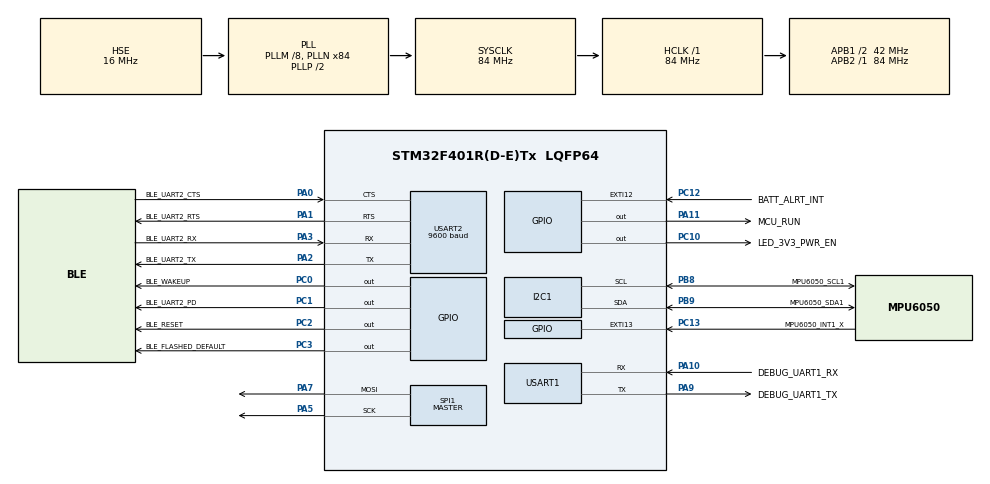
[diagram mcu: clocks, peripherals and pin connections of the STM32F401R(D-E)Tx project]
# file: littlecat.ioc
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Dma.I2C1_RX.1.Direction=DMA_PERIPH_TO_MEMORY
Dma.I2C1_RX.1.FIFOMode=DMA_FIFOMODE_DISABLE
Dma.I2C1_RX.1.Instance=DMA1_Stream0
Dma.I2C1_RX.1.MemDataAlignment=DMA_MDATAALIGN_BYTE
Dma.I2C1_RX.1.MemInc=DMA_MINC_ENABLE
Dma.I2C1_RX.1.Mode=DMA_NORMAL
Dma.I2C1_RX.1.PeriphDataAlignment=DMA_PDATAALIGN_BYTE
Dma.I2C1_RX.1.PeriphInc=DMA_PINC_DISABLE
Dma.I2C1_RX.1.Priority=DMA_PRIORITY_LOW
Dma.I2C1_TX.2.Direction=DMA_MEMORY_TO_PERIPH
Dma.I2C1_TX.2.FIFOMode=DMA_FIFOMODE_DISABLE
Dma.I2C1_TX.2.Instance=DMA1_Stream6
Dma.I2C1_TX.2.MemDataAlignment=DMA_MDATAALIGN_BYTE
Dma.I2C1_TX.2.MemInc=DMA_MINC_ENABLE
Dma.I2C1_TX.2.Mode=DMA_NORMAL
Dma.I2C1_TX.2.PeriphDataAlignment=DMA_PDATAALIGN_BYTE
Dma.I2C1_TX.2.PeriphInc=DMA_PINC_DISABLE
Dma.I2C1_TX.2.Priority=DMA_PRIORITY_LOW
Dma.Request0=SPI1_TX
Dma.Request1=I2C1_RX
Dma.Request2=I2C1_TX
Dma.SPI1_TX.0.Direction=DMA_MEMORY_TO_PERIPH
Dma.SPI1_TX.0.FIFOMode=DMA_FIFOMODE_ENABLE
Dma.SPI1_TX.0.FIFOThreshold=DMA_FIFO_THRESHOLD_FULL
Dma.SPI1_TX.0.Instance=DMA2_Stream3
Dma.SPI1_TX.0.MemBurst=DMA_MBURST_SINGLE
Dma.SPI1_TX.0.MemDataAlignment=DMA_MDATAALIGN_BYTE
Dma.SPI1_TX.0.MemInc=DMA_MINC_ENABLE
Dma.SPI1_TX.0.Mode=DMA_NORMAL
Dma.SPI1_TX.0.PeriphBurst=DMA_PBURST_SINGLE
Dma.SPI1_TX.0.PeriphDataAlignment=DMA_PDATAALIGN_BYTE
Dma.SPI1_TX.0.PeriphInc=DMA_PINC_DISABLE
Dma.SPI1_TX.0.Priority=DMA_PRIORITY_LOW
I2C1.I2C_Mode=I2C_Fast
Mcu.Family=STM32F4
Mcu.Name=STM32F401R(D-E)Tx
Mcu.Package=LQFP64
NVIC.DMA1_Stream0_IRQn=true\:1\:0\:true\:false\:true\:false\:true
NVIC.DMA1_Stream6_IRQn=true\:1\:0\:true\:false\:true\:false\:true
NVIC.DMA2_Stream3_IRQn=true\:0\:0\:true\:false\:true\:false\:true
NVIC.EXTI15_10_IRQn=true\:1\:0\:true\:false\:true\:true\:true
NVIC.I2C1_ER_IRQn=true\:1\:0\:true\:true\:true\:6\:true\:true
NVIC.I2C1_EV_IRQn=true\:1\:0\:true\:true\:true\:5\:true\:true
NVIC.PriorityGroup=NVIC_PRIORITYGROUP_4
NVIC.TIM1_TRG_COM_TIM11_IRQn=true\:1\:0\:true\:true\:true\:4\:true\:true
NVIC.TIM1_UP_TIM10_IRQn=true\:1\:0\:true\:true\:true\:3\:true\:true
NVIC.TIM5_IRQn=true\:1\:0\:true\:false\:true\:false\:true
NVIC.TimeBase=TIM5_IRQn
NVIC.TimeBaseIP=TIM5
NVIC.USART1_IRQn=true\:5\:0\:true\:true\:true\:2\:true\:true
NVIC.USART2_IRQn=true\:5\:0\:true\:true\:true\:1\:true\:true
PA0-WKUP.GPIO_Label=BLE_UART2_CTS
PA0-WKUP.Mode=CTS_RTS
PA0-WKUP.Signal=USART2_CTS
PA1.GPIO_Label=BLE_UART2_RTS
PA1.Mode=CTS_RTS
PA1.Signal=USART2_RTS
PA10.GPIO_Label=DEBUG_UART1_RX
PA10.Mode=Asynchronous
PA10.Signal=USART1_RX
PA11.GPIO_Label=MCU_RUN
PA11.GPIO_ModeDefaultOutputPP=GPIO_MODE_OUTPUT_OD
PA11.GPIO_PuPd=GPIO_PULLUP
PA11.Signal=GPIO_Output
PA13.Mode=JTAG_5_pins
PA13.Signal=SYS_JTMS-SWDIO
PA14.Mode=JTAG_5_pins
PA14.Signal=SYS_JTCK-SWCLK
PA15.Mode=JTAG_5_pins
PA15.Signal=SYS_JTDI
PA2.GPIO_Label=BLE_UART2_TX
PA2.Mode=Asynchronous
PA2.Signal=USART2_TX
PA3.GPIO_Label=BLE_UART2_RX
PA3.Mode=Asynchronous
PA3.Signal=USART2_RX
PA5.Mode=TX_Only_Simplex_Unidirect_Master
PA5.Signal=SPI1_SCK
PA7.Mode=TX_Only_Simplex_Unidirect_Master
PA7.Signal=SPI1_MOSI
PA9.GPIO_Label=DEBUG_UART1_TX
PA9.Mode=Asynchronous
PA9.Signal=USART1_TX
PB3.Mode=JTAG_5_pins
PB3.Signal=SYS_JTDO-SWO
PB4.Mode=JTAG_5_pins
PB4.Signal=SYS_JTRST
PB8.GPIO_Label=MPU6050_SCL1
PB8.Mode=I2C
PB8.Signal=I2C1_SCL
PB9.GPIO_Label=MPU6050_SDA1
PB9.Mode=I2C
PB9.Signal=I2C1_SDA
PC0.GPIO_Label=BLE_WAKEUP
PC0.GPIO_ModeDefaultOutputPP=GPIO_MODE_OUTPUT_OD
PC0.GPIO_PuPd=GPIO_PULLUP
PC0.PinState=GPIO_PIN_SET
PC0.Signal=GPIO_Output
PC1.GPIO_Label=BLE_UART2_PD
PC1.GPIO_ModeDefaultOutputPP=GPIO_MODE_OUTPUT_OD
PC1.GPIO_PuPd=GPIO_PULLDOWN
PC1.Signal=GPIO_Output
PC10.GPIO_Label=LED_3V3_PWR_EN
PC10.GPIO_PuPd=GPIO_PULLDOWN
PC10.Signal=GPIO_Output
PC12.GPIO_Label=BATT_ALRT_INT
PC12.GPIO_ModeDefaultEXTI=GPIO_MODE_IT_FALLING
PC12.Signal=GPXTI12
PC13-ANTI_TAMP.GPIO_Label=MPU6050_INT1_X
PC13-ANTI_TAMP.GPIO_ModeDefaultEXTI=GPIO_MODE_IT_FALLING
PC13-ANTI_TAMP.GPIO_PuPd=GPIO_NOPULL
PC13-ANTI_TAMP.Signal=GPXTI13
PC14-OSC32_IN.Mode=LSE-External-Oscillator
PC14-OSC32_IN.Signal=RCC_OSC32_IN
PC15-OSC32_OUT.Mode=LSE-External-Oscillator
PC15-OSC32_OUT.Signal=RCC_OSC32_OUT
PC2.GPIO_Label=BLE_RESET
PC2.GPIO_ModeDefaultOutputPP=GPIO_MODE_OUTPUT_OD
PC2.GPIO_PuPd=GPIO_PULLUP
PC2.Signal=GPIO_Output
PC3.GPIO_Label=BLE_FLASHED_DEFAULT
PC3.GPIO_ModeDefaultOutputPP=GPIO_MODE_OUTPUT_OD
PC3.GPIO_PuPd=GPIO_PULLUP
PC3.Signal=GPIO_Output
PH0\ -\ OSC_IN.Mode=HSE-External-Oscillator
PH0\ -\ OSC_IN.Signal=RCC_OSC_IN
PH1\ -\ OSC_OUT.Mode=HSE-External-Oscillator
PH1\ -\ OSC_OUT.Signal=RCC_OSC_OUT
ProjectManager.HeapSize=0x200
ProjectManager.StackSize=0x400
ProjectManager.TargetToolchain=TrueSTUDIO
RCC.48MHZClocksFreq_Value=24000000
RCC.AHBFreq_Value=84000000
RCC.APB1CLKDivider=RCC_HCLK_DIV2
RCC.APB1Freq_Value=42000000
RCC.APB1TimFreq_Value=84000000
RCC.APB2Freq_Value=84000000
RCC.APB2TimFreq_Value=84000000
RCC.CortexFreq_Value=84000000
RCC.EnbaleCSS=true
RCC.HCLKFreq_Value=84000000
RCC.HSE_VALUE=16000000
RCC.HSI_VALUE=16000000
RCC.PLLM=8
RCC.PLLN=84
RCC.PLLQ=7
RCC.PLLSourceVirtual=RCC_PLLSOURCE_HSE
RCC.RCC_RTC_Clock_Source=RCC_RTCCLKSOURCE_LSE
RCC.RCC_RTC_Clock_SourceVirtual=RCC_RTCCLKSOURCE_LSE
RCC.SYSCLKFreq_VALUE=84000000
RCC.SYSCLKSource=RCC_SYSCLKSOURCE_PLLCLK
RCC.VCOOutputFreq_Value=168000000
SPI1.BaudRatePrescaler=SPI_BAUDRATEPRESCALER_32
SPI1.Direction=SPI_DIRECTION_2LINES
SPI1.Mode=SPI_MODE_MASTER
SPI1.VirtualType=VM_MASTER
TIM11.Period=999
TIM11.Prescaler=53999
USART1.VirtualMode=VM_ASYNC
USART2.BaudRate=9600
USART2.VirtualMode=VM_ASYNC
VP_SYS_VS_tim5.Mode=TIM5
VP_TIM11_VS_ClockSourceINT.Mode=Enable_Timer
VP_TIM1_VS_ClockSourceINT.Mode=Internal
board=custom

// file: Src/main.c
/* USER CODE BEGIN Header */
/**
  ******************************************************************************
  * @file           : main.c
  * @brief          : Main program body
  ******************************************************************************
  * @attention
  *
  * <h2><center>&copy; Copyright (c) 2019 STMicroelectronics.
  * All rights reserved.</center></h2>
  *
  * This software component is licensed by ST under BSD 3-Clause license,
  * the "License"; You may not use this file except in compliance with the
  * License. You may obtain a copy of the License at:
  *                        opensource.org/licenses/BSD-3-Clause
  *
  ******************************************************************************
  */
/* USER CODE END Header */

#include "main.h"
#include "dma.h"
#include "i2c.h"
#include "spi.h"
#include "tim.h"
#include "usart.h"
#include "gpio.h"

/* USER CODE BEGIN Includes */
#include "mdbt42q.h"
#include "ws2812b.h"
#include "power.h"
#include <stdio.h>
#include <string.h>
#include "ble_cmd.h"
#include "mpu6050_dmp.h"
#include "workout.h"
#include "flash_if.h"
#include "circular_buffer.h"
/* USER CODE END Includes */

/* USER CODE BEGIN PD */
#define LED_GREEN_TOGGLE	HAL_GPIO_TogglePin(LED_GREEN_GPIO_Port, LED_GREEN_Pin);
/* USER CODE END PD */

void SystemClock_Config(void);
static void MX_NVIC_Init(void);
/* USER CODE BEGIN PFP */
void low_bat_check(void);
void low_pow_enter_check(void);
void mcu_run_led(void);

/* USER CODE END PFP */

/* USER CODE BEGIN 0 */
float Roll_before = 0.0f;
uint16_t Roll_offset = 0;
uint8_t Stable_state = 0;
uint8_t ledPosTmp = 0;
uint8_t ledPosUser = 0;
uint8_t led_control_mode = 0; // default(0) : Auto(Gyro), Manual(1) : User Select
uint8_t auto_time_off_mode = 0;
uint32_t ntime_auto_off_mode = 0;
uint32_t time_cnt = 0;
uint8_t running_mode = STAT_SLEEP;
uint8_t low_power_mode = 0;
int run_led_toggle_flg = 0;
/* USER CODE END 0 */

int main(void)
{

  /* MCU Configuration--------------------------------------------------------*/

  /* Reset of all peripherals, Initializes the Flash interface and the Systick. */
  HAL_Init();

  /* Configure the system clock */
  SystemClock_Config();

  /* Initialize all configured peripherals */
  MX_GPIO_Init();
  MX_DMA_Init();
  MX_I2C1_Init();
  MX_USART1_UART_Init();
  MX_USART2_UART_Init();
  MX_TIM1_Init();
  MX_TIM11_Init();
  MX_SPI1_Init();

  /* Initialize interrupts */
  MX_NVIC_Init();
  /* USER CODE BEGIN 2 */
  vt100SetCursorPos( 0, 0);
  printf("Booting LittleCat Board!!!!221\r\n\n");
  power_en();
  ble_module_init();
  uart_recv_int_enable();
  initLEDMOSI();
  time_setup();
  DMP_Init();
  FLASH_If_Init();
  initExercise();
  targetLedPos = (LED_TOTAL / 360.0f) * roundf(targetAnglel);
  HAL_TIM_Base_Start_IT(&htim11);
  /* USER CODE END 2 */

  /* Infinite loop */
  while (1)
  {

    /* USER CODE BEGIN 3 */
  	set_led_update(ledPos);
  	process();
    low_bat_check();
  }

  /* USER CODE END 3 */
}

void SystemClock_Config(void)
{
  RCC_OscInitTypeDef RCC_OscInitStruct = {0};
  RCC_ClkInitTypeDef RCC_ClkInitStruct = {0};

  /** Configure the main internal regulator output voltage
  */
  __HAL_RCC_PWR_CLK_ENABLE();
  __HAL_PWR_VOLTAGESCALING_CONFIG(PWR_REGULATOR_VOLTAGE_SCALE2);
  /** Initializes the CPU, AHB and APB busses clocks
  */
  RCC_OscInitStruct.OscillatorType = RCC_OSCILLATORTYPE_HSE;
  RCC_OscInitStruct.HSEState = RCC_HSE_ON;
  RCC_OscInitStruct.PLL.PLLState = RCC_PLL_ON;
  RCC_OscInitStruct.PLL.PLLSource = RCC_PLLSOURCE_HSE;
  RCC_OscInitStruct.PLL.PLLM = 8;
  RCC_OscInitStruct.PLL.PLLN = 84;
  RCC_OscInitStruct.PLL.PLLP = RCC_PLLP_DIV2;
  RCC_OscInitStruct.PLL.PLLQ = 7;
  if (HAL_RCC_OscConfig(&RCC_OscInitStruct) != HAL_OK)
  {
    Error_Handler();
  }
  /** Initializes the CPU, AHB and APB busses clocks
  */
  RCC_ClkInitStruct.ClockType = RCC_CLOCKTYPE_HCLK|RCC_CLOCKTYPE_SYSCLK
                              |RCC_CLOCKTYPE_PCLK1|RCC_CLOCKTYPE_PCLK2;
  RCC_ClkInitStruct.SYSCLKSource = RCC_SYSCLKSOURCE_PLLCLK;
  RCC_ClkInitStruct.AHBCLKDivider = RCC_SYSCLK_DIV1;
  RCC_ClkInitStruct.APB1CLKDivider = RCC_HCLK_DIV2;
  RCC_ClkInitStruct.APB2CLKDivider = RCC_HCLK_DIV1;

  if (HAL_RCC_ClockConfig(&RCC_ClkInitStruct, FLASH_LATENCY_2) != HAL_OK)
  {
    Error_Handler();
  }
  /** Enables the Clock Security System
  */
  HAL_RCC_EnableCSS();
}

/**
  * @brief NVIC Configuration.
  * @retval None
  */
static void MX_NVIC_Init(void)
{
  /* USART2_IRQn interrupt configuration */
  HAL_NVIC_SetPriority(USART2_IRQn, 5, 0);
  HAL_NVIC_EnableIRQ(USART2_IRQn);
  /* USART1_IRQn interrupt configuration */
  HAL_NVIC_SetPriority(USART1_IRQn, 5, 0);
  HAL_NVIC_EnableIRQ(USART1_IRQn);
  /* TIM1_UP_TIM10_IRQn interrupt configuration */
  HAL_NVIC_SetPriority(TIM1_UP_TIM10_IRQn, 1, 0);
  HAL_NVIC_EnableIRQ(TIM1_UP_TIM10_IRQn);
  /* TIM1_TRG_COM_TIM11_IRQn interrupt configuration */
  HAL_NVIC_SetPriority(TIM1_TRG_COM_TIM11_IRQn, 1, 0);
  HAL_NVIC_EnableIRQ(TIM1_TRG_COM_TIM11_IRQn);
  /* I2C1_EV_IRQn interrupt configuration */
  HAL_NVIC_SetPriority(I2C1_EV_IRQn, 1, 0);
  HAL_NVIC_EnableIRQ(I2C1_EV_IRQn);
  /* I2C1_ER_IRQn interrupt configuration */
  HAL_NVIC_SetPriority(I2C1_ER_IRQn, 1, 0);
  HAL_NVIC_EnableIRQ(I2C1_ER_IRQn);
}

/* USER CODE BEGIN 4 */

void low_pow_enter_check(void)
{
  if (get_running_mode() == STAT_SLEEP && low_power_mode == 0)
  {
    low_power_mode = 1;
    HAL_PWR_EnterSTOPMode(PWR_LOWPOWERREGULATOR_ON, PWR_STOPENTRY_WFE);
    SystemClock_Config();
  }
}

void wakeup_check(void)
{
  if (get_running_mode() == STAT_SLEEP)
  {
    if (pos_move_check(ledPos) == 1)
    {
      low_power_mode = 0;
      set_wakeup();
    }
  }
}

void HAL_GPIO_EXTI_Callback(uint16_t GPIO_Pin)
{
  if(GPIO_Pin == MPU6050_INT1_X_Pin)
  {
    wakeup_check();
    // To do
	  if(Cal_done) {
		  Read_DMP();

		  if(Roll_before == Roll)	{
		  	if(!Stable_state) {
		  		Roll_offset = (uint16_t)Roll;
		  		Stable_state = 1;
		  	}
		  }
		  else {
		  	if(!Stable_state)
		  		Roll_before = Roll;
		  }
	  }
  }
}

void power_off_time_check(void)
{
  if (get_running_mode() != STAT_SLEEP)
  {
    if (ledPos_before == ledPosTmp)
    {
      offtimecnt++;
      if (offtimecnt >= OFF_TIME)
      {
        offtimecnt = 0;
        set_sleep();
      }
    }
    else
    {
      ledPosTmp = ledPos_before;
    }
  }
}

uint32_t bat_previous_time = 0;
void low_bat_check(void)
{
  if (get_running_mode() == STAT_SLEEP)
  {
    if( abs(HAL_GetTick() - bat_previous_time) > 60000 )
    {
      if (get_bat_val() <= 10)
      {
        /* Record cat movement information. */
        //////////////////////////////////////
    	  HAL_PWR_EnterSTANDBYMode();
      }
      bat_previous_time = HAL_GetTick();
    }
  }
}

void mcu_run_led(void)
{
	if ((timecnt % 1) == 0) {
		if (run_led_toggle_flg == 0)
		{
			HAL_GPIO_WritePin(MCU_RUN_GPIO_Port, MCU_RUN_Pin, GPIO_PIN_RESET);
			run_led_toggle_flg = 1;
		}
		else
		{
			HAL_GPIO_WritePin(MCU_RUN_GPIO_Port, MCU_RUN_Pin, GPIO_PIN_SET);
			run_led_toggle_flg = 0;
		}
	}
}

/* USER CODE END 4 */

void HAL_TIM_PeriodElapsedCallback(TIM_HandleTypeDef *htim)
{
  if (htim->Instance == TIM5) {
    HAL_IncTick();
  }
  /* USER CODE BEGIN Callback 1 */
  if (htim->Instance == TIM11)
  {
    power_off_time_check();
    timecnt++; // time count for timestamp
    if (get_running_mode() == STAT_RUNNING)
    	mcu_run_led();
  }
  /* USER CODE END Callback 1 */
}

void Error_Handler(void)
{
}

/************************ (C) COPYRIGHT STMicroelectronics *****END OF FILE****/
